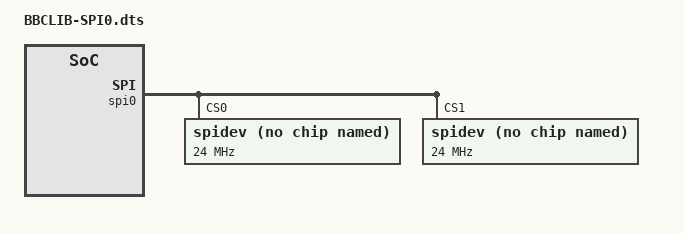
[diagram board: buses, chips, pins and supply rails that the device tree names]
/dts-v1/;
/plugin/;

/ {
    compatible      = "ti,beaglebone", "ti,beaglebone-black";

    part-number     = "BBCLIB-SPI0";
    version         = "00A0";

    exclusive-use   =
        "P9.17",    /* spi0_cs0 */
        "P9.18",    /* spi0_d1 */
        "P9.21",    /* spi0_d0 */
        "P9.22",    /* spi0_sclk */
        "spi0";     /* the hardware ip uses */

    fragment@0 {
        target      = <&am33xx_pinmux>;
        __overlay__ {
            bb_spi0_pins: pinmux_bb_spi0_pins {
                pinctrl-single,pins = <
                    0x150 0x30      /* spi0_sclk.spi0_sclk,     INPUT_PULLUP  | MODE0 */
                    0x154 0x30      /* spi0_d0.spi0_d0,         INPUT_PULLUP  | MODE0 */
                    0x158 0x10      /* spi0_d1.spi0_d1,         OUTPUT_PULLUP | MODE0 */
                    0x15c 0x10      /* spi0_cs0.spi0_cs0,       OUTPUT_PULLUP | MODE0 */
                >;
            };
        };
    };

    fragment@1 {
        target = <&spi0>;
        __overlay__ {
            #address-cells  = <1>;
            #size-cells     = <0>;

            status          = "okay";
            pinctrl-names   = "default";
            pinctrl-0       = <&bb_spi0_pins>;

            spidev@0{
                compatible          = "spidev";
                reg                 = <0>;
                spi-max-frequency   = <24000000>;
            };
            spidev@1{
                compatible          = "spidev";
                reg                 = <1>;
                spi-max-frequency   = <24000000>;
            };  
        };
    };
};
